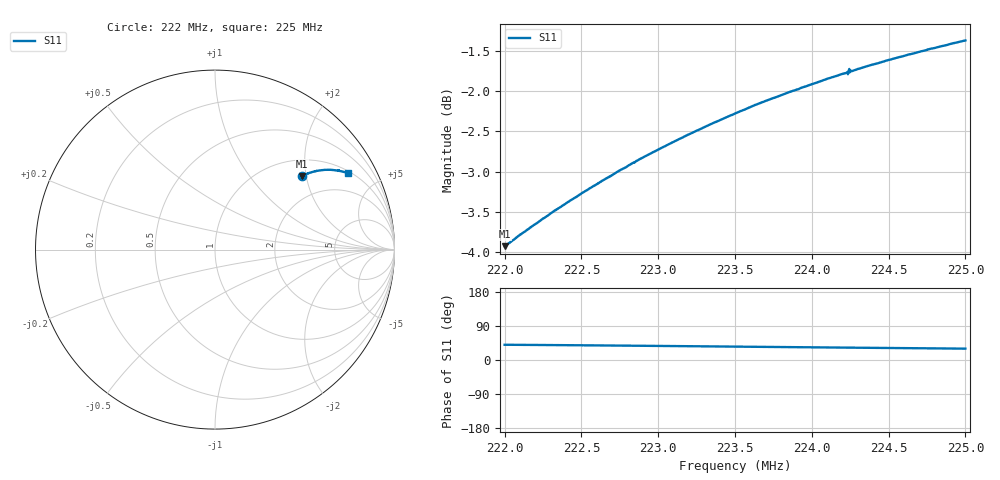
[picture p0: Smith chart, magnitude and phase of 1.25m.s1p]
! Calibrated averaged scanner-service zoom
# Hz S RI R 50
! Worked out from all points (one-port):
!   1001 points, 222 MHz to 225 MHz, reference 50 ohm
!   lowest |S11| = -3.9 dB at 222 MHz (marker M1), VSWR 4.50, Z = 68.7 + j94.9 ohm
!   |S11| at or under -10 dB: nowhere
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2.22e8  0.4863 0.4108
2.22018e8  0.4878 0.4117
2.22102e8  0.4961 0.4156
2.22237e8  0.5093 0.4211
2.22375e8  0.5226 0.4259
2.22555e8  0.54 0.4317
2.22687e8  0.5524 0.4351
2.2275e8  0.5587 0.4366
2.22891e8  0.5723 0.4395
2.23125e8  0.594 0.4424
2.23368e8  0.6159 0.4445
2.235e8  0.6275 0.4446
2.23635e8  0.6393 0.4446
2.23875e8  0.6591 0.4433
2.24097e8  0.6767 0.4413
2.24187e8  0.6834 0.4403
2.24223e8  0.6862 0.4396
2.24229e8  0.6867 0.4396
2.24238e8  0.6872 0.4395
2.2425e8  0.6881 0.4395
2.24256e8  0.6893 0.4393
2.24262e8  0.689 0.4393
2.24271e8  0.6897 0.4393
2.24382e8  0.6982 0.4376
2.24625e8  0.7152 0.4334
2.2491e8  0.734 0.4281
2.24982e8  0.7383 0.4266
2.25e8  0.7394 0.4264
